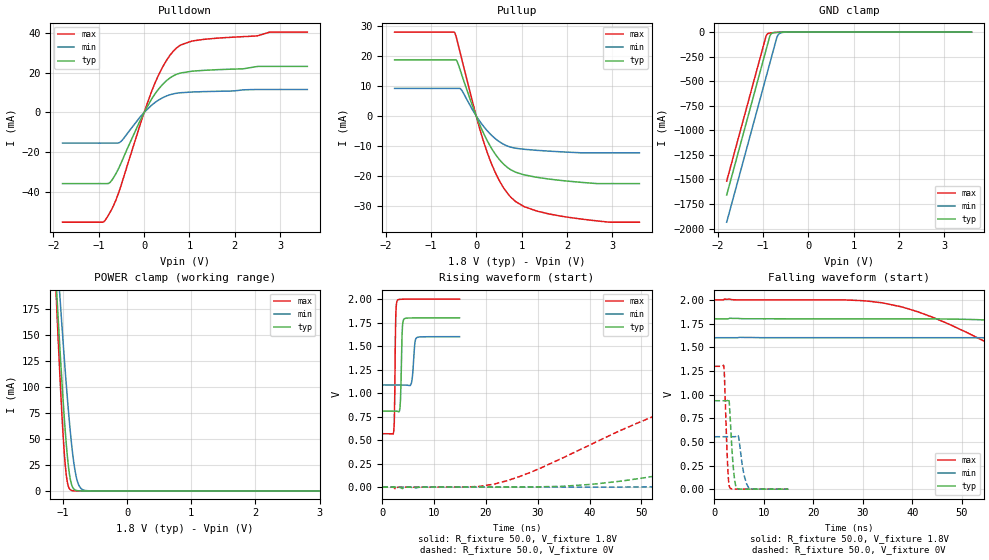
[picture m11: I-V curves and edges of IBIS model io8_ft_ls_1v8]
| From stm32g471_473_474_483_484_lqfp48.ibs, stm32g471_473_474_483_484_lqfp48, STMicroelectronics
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[Model]   io8_ft_ls_1v8
Model_type I/O
Polarity   Non-Inverting
Enable   Active-Low
| CAP_THRESHOLD on pad IOFT is "UDTCAPC" :
| Rising=30.0% of vddiom   Falling=70.0% of vddiom
| C_comp min and max val. don't necessarily correlate with the min and max pvt
| but are the smallest and greatest pad capacitance found.
| var   typ   min   max
C_comp   2.04484pF  2.03950pF  2.10330pF
|C_comp_pullup   1.14453pF  1.14098pF  1.14605pF
|C_comp_pulldown   900.31992fF  898.51517fF  957.24503fF
Vinl = 480.0mV
Vinh = 1.4V
Vmeas = 900.0mV   | Reference voltage for timing measurements
Cref  = 50.0pF   | Timing specification test load capacitance value
Rref  = 100.0MOhm   | Timing specification test load resistance value
Vref  = 900.0mV   | Timing specification test load voltage
[Model Spec]
| TIME_THRESHOLD on pin ZIV12 is "CMOS" :
| Rising=50.0% of vdd   Falling=50.0% of vdd
Vinl 728.70000mV 655.70000mV 817.70000mV
Vinh 1.06430V 949.30000mV 1.16330V
| variable   typ   min   max
[Temperature Range] 25.0 140.0 -40.0
| variable   typ   min   max
[Voltage Range] 1.8V 1.6V 2.0V
| variable   typ   min   max
[POWER Clamp Reference] 1.8V 1.6V 2.0V
| variable   typ   min   max
[GND Clamp Reference] 0V 0V 0V
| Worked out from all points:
|   slope of the pulldown table from 0 to 0.27 V, typ, clamps not added: 26.3 ohm
|   slope of the pullup table from 0 to 0.27 V, typ, clamps not added: 30 ohm
|   GND clamp passes 1 mA (typ) near -0.61 V on its own axis
|   POWER clamp passes 1 mA (typ) near -0.81 V on its own axis
|   rising waveform, R_fixture 50.0, V_fixture 1.8V: 20-80 % time 251ps typ, 393ps min, 201ps max; typ from 0.809 V to 1.8 V
|   falling waveform, R_fixture 50.0, V_fixture 1.8V: 20-80 % time 66.7ns typ, 119ns min, 34.9ns max; typ from 1.8 V to 0.809 V
|   rising waveform, R_fixture 50.0, V_fixture 0V: 20-80 % time 65.7ns typ, 120ns min, 35.9ns max; typ from 0 V to 0.935 V
|   falling waveform, R_fixture 50.0, V_fixture 0V: 20-80 % time 694ps typ, 1.02ns min, 534ps max; typ from 0.935 V to 0 V
[POWER Clamp]
-1.8V     1.053A     943.1mA    1.262A
-1.11V    202.2mA    242.3mA    190.9mA
-1.09V    180mA      223.6mA    163.4mA
-1.05V    136.9mA    187mA      110.9mA
-980mV    68.91mA    126.1mA    35.23mA
-940mV    37.57mA    94.11mA    10.65mA
-880mV    8.969mA    52.17mA    807.4uA
-830mV    1.697mA    25.82mA    75.79uA
-790mV    394.2uA    12.22mA    11.25uA
-740mV    61.25uA    3.879mA    1.034uA
-660mV    3.073uA    483.4uA    22.7nA
3.6V      0A         0A         0A
[GND Clamp]
-1.8V     -1.658A    -1.935A    -1.517A
-930mV    -179mA     -456mA     -38.91mA
-900mV    -128mA     -405mA     -17.65mA
-850mV    -44.09mA   -320mA     -9.519mA
-830mV    -24.74mA   -286mA     -8.302mA
-790mV    -9.695mA   -218mA     -6.49mA
-700mV    -2.938mA   -65mA      -3.294mA
-670mV    -2.157mA   -31.85mA   -2.435mA
-640mV    -1.545mA   -16.21mA   -1.699mA
-570mV    -571.9uA   -3.807mA   -536.5uA
-420mV    -14.26uA   -143.3uA   -5.434uA
3.6V      450.9pA    102.5nA    318pA
| variable   typ   min   max
[Pullup Reference] 1.8V 1.6V 2.0V
| variable   typ   min   max
[Pulldown Reference] 0V 0V 0V
[Pullup]
-1.8V     18.63mA    9.13mA     27.86mA
-480mV    18.63mA    9.13mA     27.8mA
-420mV    18.05mA    9.13mA     25.03mA
-330mV    14.19mA    8.744mA    19.54mA
40mV      -1.53mA    -918.5uA   -2.253mA
250mV     -8.43mA    -5.045mA   -12.43mA
540mV     -15mA      -8.866mA   -22.31mA
870mV     -18.72mA   -10.75mA   -28.48mA
1.33V     -20.4mA    -11.44mA   -31.6mA
1.9V      -21.5mA    -11.96mA   -33.39mA
2.94V     -22.49mA   -12.26mA   -35.33mA
3.6V      -22.49mA   -12.26mA   -35.33mA
[Pulldown]
-1.8V     -35.76mA   -15.41mA   -55.17mA
-910mV    -35.76mA   -15.41mA   -55.17mA
-830mV    -35.76mA   -15.41mA   -53.18mA
-710mV    -34mA      -15.41mA   -48.42mA
-520mV    -26.05mA   -14.75mA   -37.5mA
-90mV     -4.145mA   -2.306mA   -6.327mA
230mV     8.974mA    4.797mA    14.24mA
490mV     15.87mA    8.222mA    26.01mA
750mV     19.43mA    9.742mA    33.01mA
1.33V     21.16mA    10.45mA    36.75mA
2.78V     23.13mA    11.52mA    40.36mA
3.6V      23.13mA    11.52mA    40.37mA
[Ramp]
dV/dt_r 560.73922mV/65.65533ns 332.39659mV/120.11514ns 778.78075mV/35.93321ns
dV/dt_f 594.84432mV/66.59438ns 308.28587mV/118.68975ns 859.13107mV/34.92094ns
R_load = 50.0
| Removed startup time: 0s 0s 0s  .
| Removed end time: 14.9ns.
[Rising Waveform]
R_fixture   = 50.0
V_fixture   = 1.8V
V_fixture_min = 1.6V
V_fixture_max = 2.0V
0s        808.6mV    1.086V     568.1mV
2.2ns     808.7mV    1.086V     591mV
2.6ns     808.5mV    1.086V     1.845V
2.9ns     806.2mV    1.086V     1.986V
3.4ns     844.2mV    1.086V     1.997V
3.8ns     1.617V     1.086V     1.998V
4.1ns     1.78V      1.086V     1.999V
5.6ns     1.799V     1.104V     1.999V
6.6ns     1.799V     1.588V     2V
14.9ns    1.8V       1.6V       2V
| Removed startup time: 0s 0s 0s  .
| Removed end time: 999.9ns.
[Falling Waveform]
R_fixture   = 50.0
V_fixture   = 1.8V
V_fixture_min = 1.6V
V_fixture_max = 2.0V
0s        1.8V       1.6V       2V
37.8ns    1.8V       1.6V       1.927V
59ns      1.777V     1.6V       1.442V
84.7ns    1.608V     1.595V     835.9mV
102.1ns   1.429V     1.579V     691.5mV
126.5ns   1.176V     1.536V     622.7mV
149.7ns   1.018V     1.473V     596.4mV
183.9ns   908.6mV    1.361V     579.5mV
315.8ns   817.3mV    1.14V      568.5mV
999.9ns   808.6mV    1.086V     568.1mV
| Removed startup time: 0s 0s 0s  .
| Removed end time: 999.9ns.
[Rising Waveform]
R_fixture   = 50.0
V_fixture   = 0V
V_fixture_min = 0V
V_fixture_max = 0V
0s        -16.14uV   -14.83uV   -10.78uV
24ns      230.9uV    -25.66uV   67.37mV
52.4ns    115.7mV    2.603mV    752.7mV
71.7ns    316.6mV    19.32mV    1.074V
87.8ns    482.5mV    48.92mV    1.2V
110.7ns   666.6mV    115.5mV    1.266V
168.8ns   878.1mV    308.6mV    1.295V
229.3ns   923.7mV    443.2mV    1.298V
315.8ns   933.5mV    523mV      1.298V
999.9ns   934.6mV    554mV      1.298V
| Removed startup time: 0s 0s 0s  .
| Removed end time: 14.9ns.
[Falling Waveform]
R_fixture   = 50.0
V_fixture   = 0V
V_fixture_min = 0V
V_fixture_max = 0V
0s        934.6mV    554mV      1.298V
1.9ns     934.6mV    554mV      1.304V
2.7ns     942mV      554mV      215.4mV
3.1ns     833.7mV    554mV      17.45mV
3.8ns     233.9mV    553.5mV    1.842mV
4.5ns     9.79mV     563.2mV    930.8uV
4.9ns     2.809mV    545.3mV    745.5uV
6ns       683.4uV    146.6mV    463.8uV
6.9ns     418.4uV    15.77mV    334.6uV
14.9ns    75.63uV    62.59uV    113.5uV
